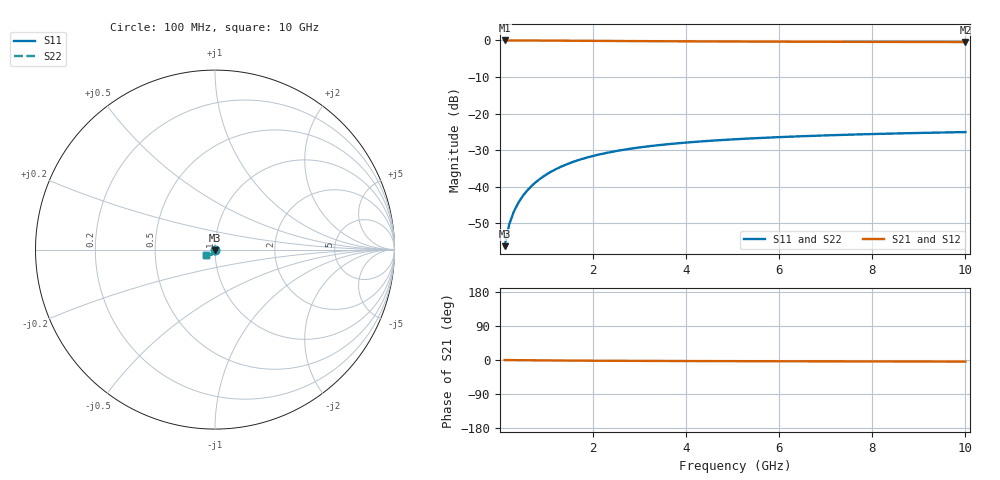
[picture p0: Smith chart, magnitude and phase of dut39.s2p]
! Touchstone file exported from HFSS 2024.1.0
!  File:  C:/UserFiles/LocalFiles/RDL_TSV_Batchsim/temp_TSV1_39_1778748104.aedt
!  Generated:  04:45:02 PM May 14, 2026
!  Design:  TSV1
!  Project:  temp_TSV1_39_1778748104
!  Setup:  Setup1
!  Solution:  Sweep
! Variables:
!  dtsv = 15.97um
!  hbump = 3um
!  htsv = 58.47um
!  lrdl = 252.1521522um
!  p = 40
!  p1 = 45.89um
!  t = 500um
!  trdl = 3um
!  wrdl = 24.89489489um
# GHz S MA R 50.000000
! Terminal data exported
! Port[1] = TSV22_T1
! Port[2] = TSV22_T2
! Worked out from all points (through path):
!   100 points, 100 MHz to 10 GHz, reference 50 ohm
!   highest |S21| = 0.00 dB at 100 MHz (marker M1); lowest = -0.4 dB at 10 GHz (marker M2)
!   lowest |S11| = -56.2 dB at 100 MHz (marker M3), VSWR 1.00, Z = 50 - j0.155 ohm
!   |S11| at or under -10 dB: start of sweep to end of sweep
!   |S22| runs from -56.2 to -25.0 dB; largest |S21 - S12| = 3.1e-15
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0.1  0.001547 -89.1  0.9999 -0.1  0.9999 -0.1  0.001547 -89.1
! Gamma 0 0 0 0
! Port Impedance 50 0 50 0
0.2  0.003087 -92.0  0.9997 -0.2  0.9997 -0.2  0.003087 -92.0
0.3  0.004619 -94.0  0.9995 -0.3  0.9995 -0.3  0.004619 -94.0
0.4  0.006139 -95.9  0.9992 -0.5  0.9992 -0.5  0.006139 -95.9
0.5  0.007643 -97.6  0.9988 -0.6  0.9988 -0.6  0.007643 -97.6
0.6  0.009126 -99.2  0.9984 -0.7  0.9984 -0.7  0.009126 -99.2
0.7  0.01059 -100.8  0.9978 -0.8  0.9978 -0.8  0.01059 -100.8
0.8  0.01202 -102.4  0.9972 -0.9  0.9972 -0.9  0.01202 -102.4
0.9  0.01342 -103.9  0.9966 -1.0  0.9966 -1.0  0.01342 -103.9
1.1  0.01612 -106.8  0.9951 -1.2  0.9951 -1.2  0.01612 -106.8
1.4  0.0199 -110.9  0.9927 -1.4  0.9927 -1.4  0.0199 -110.9
1.6  0.02223 -113.4  0.9909 -1.6  0.9909 -1.6  0.02223 -113.4
1.8  0.0244 -115.7  0.9892 -1.7  0.9892 -1.7  0.0244 -115.7
2.1  0.02738 -119.0  0.9866 -1.9  0.9866 -1.9  0.02738 -119.0
2.5  0.03086 -122.8  0.9832 -2.1  0.9832 -2.1  0.03086 -122.8
2.9  0.03386 -126.1  0.98 -2.3  0.98 -2.3  0.03386 -126.1
3.4  0.03705 -129.7  0.9764 -2.5  0.9764 -2.5  0.03705 -129.7
4.2  0.04119 -134.2  0.9714 -2.8  0.9714 -2.8  0.04119 -134.2
5.1  0.04484 -138.0  0.9668 -3.1  0.9668 -3.1  0.04484 -138.0
6.7  0.04969 -143.0  0.9604 -3.5  0.9604 -3.5  0.04969 -143.0
8.4  0.05339 -146.8  0.9555 -3.9  0.9555 -3.9  0.05339 -146.8
10  0.05598 -149.4  0.9521 -4.2  0.9521 -4.2  0.05598 -149.4
